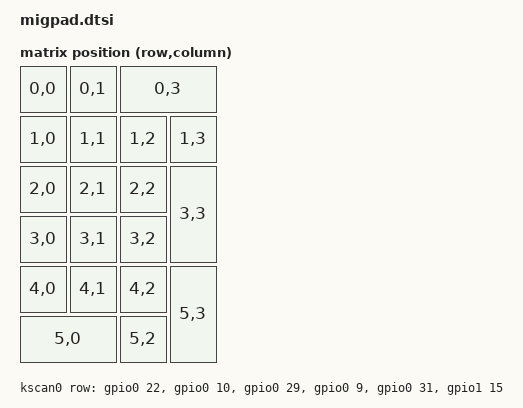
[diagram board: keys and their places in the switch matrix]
/*
 * Copyright (c) 2020 The ZMK Contributors
 *
 * SPDX-License-Identifier: MIT
 */

#include <dt-bindings/zmk/matrix_transform.h>
#include <physical_layouts.dtsi>

/ {
    migpad_layout0: migpad_layout0{
        compatible = "zmk,physical-layout";
        display-name = "Default";
        kscan = <&kscan0>;
        transform = <&matrix_transform0>;
        keys  //                     w   h    x    y     rot    rx    ry
            = <&key_physical_attrs 100 100    0    0       0     0     0>
            , <&key_physical_attrs 100 100  100    0       0     0     0>
            , <&key_physical_attrs 200 100  200    0       0     0     0>
            , <&key_physical_attrs 100 100    0  100       0     0     0>
            , <&key_physical_attrs 100 100  100  100       0     0     0>
            , <&key_physical_attrs 100 100  200  100       0     0     0>
            , <&key_physical_attrs 100 100  300  100       0     0     0>
            , <&key_physical_attrs 100 100    0  200       0     0     0>
            , <&key_physical_attrs 100 100  100  200       0     0     0>
            , <&key_physical_attrs 100 100  200  200       0     0     0>
            , <&key_physical_attrs 100 100    0  300       0     0     0>
            , <&key_physical_attrs 100 100  100  300       0     0     0>
            , <&key_physical_attrs 100 100  200  300       0     0     0>
            , <&key_physical_attrs 100 200  300  200       0     0     0>
            , <&key_physical_attrs 100 100    0  400       0     0     0>
            , <&key_physical_attrs 100 100  100  400       0     0     0>
            , <&key_physical_attrs 100 100  200  400       0     0     0>
            , <&key_physical_attrs 200 100    0  500       0     0     0>
            , <&key_physical_attrs 100 100  200  500       0     0     0>
            , <&key_physical_attrs 100 200  300  400       0     0     0>
            ;
    };
};

/ {
    chosen {
        // zephyr,display = &oled;
        zmk,kscan = &kscan0;
        zmk,physical-layouts = &migpad_layout;
    };

&migpad_layout{

	transform = <&default_transform>;

	kscan = <&kscan0>;

};

    default_transform: keymap_transform_0 {
		compatible = "zmk,matrix-transform";
		columns = <4>;
		rows = <6>;
		map = <
RC(0,0)  RC(0,1)           RC(0,3)
RC(1,0)  RC(1,1)  RC(1,2)  RC(1,3)
RC(2,0)  RC(2,1)  RC(2,2)
RC(3,0)  RC(3,1)  RC(3,2)  RC(3,3)	      
RC(4,0)  RC(4,1)  RC(4,2)
RC(5,0)           RC(5,2)  RC(5,3) 
		>;
	};

    kscan0: kscan {
		compatible = "zmk,kscan-gpio-matrix";
		label = "KSCAN";

		diode-direction = "row2col";
		row-gpios
			= <&gpio0 22 GPIO_ACTIVE_HIGH>
			, <&gpio0 10 GPIO_ACTIVE_HIGH>
			, <&gpio0 29 GPIO_ACTIVE_HIGH>
			, <&gpio0 9 GPIO_ACTIVE_HIGH>
			, <&gpio0 31 GPIO_ACTIVE_HIGH>
			, <&gpio1 15 GPIO_ACTIVE_HIGH>
			;
	};
};
